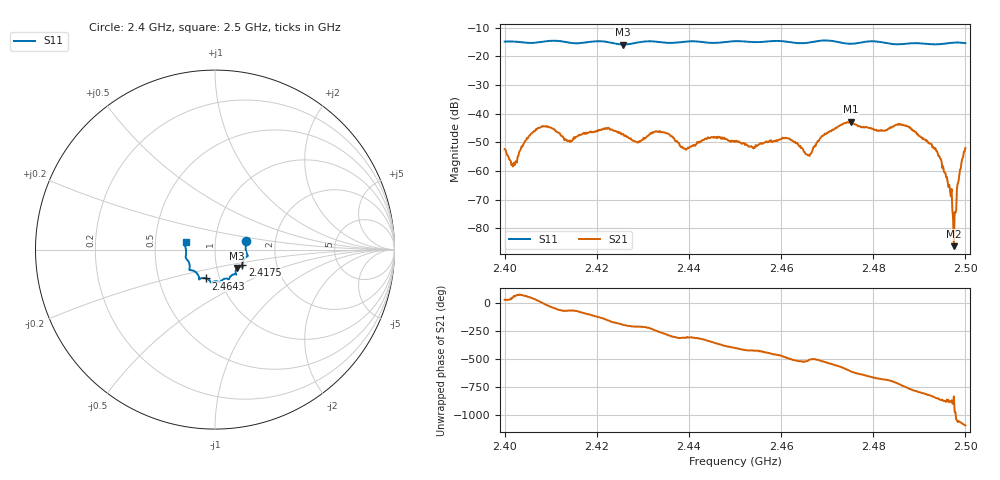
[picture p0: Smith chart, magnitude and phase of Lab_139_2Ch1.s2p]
# Hz S RI R 50
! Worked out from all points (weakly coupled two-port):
!   601 points, 2.4 GHz to 2.5 GHz, reference 50 ohm
!   highest |S21| = -42.84 dB at 2.4752 GHz (marker M1); lowest = -86.3 dB at 2.4975 GHz (marker M2)
!   lowest |S11| = -15.9 dB at 2.4257 GHz (marker M3), VSWR 1.38, Z = 62.5 - j13.1 ohm
!   |S11| at or under -10 dB: start of sweep to end of sweep
!   S12 and S22 are empty: the file has one direction only
!   S11 on the Smith chart (normalised r, x): 2.4 GHz: 1.41, +0.14; 2.4175 GHz: 1.34, -0.23; 2.4643 GHz: 0.86, -0.29; 2.5 GHz: 0.72, +0.06
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2.4e9  0.1733 0.0486  0.00203 0.00128  0 0  0 0
2.402167e9  0.1757 0.0396  0.000599 0.00111  0 0  0 0
2.404833e9  0.1709 0.0156  0.00178 0.00329  0 0  0 0
2.408167e9  0.178 -0.0226  0.00601 0.00044  0 0  0 0
2.414e9  0.1662 -0.0467  0.00143 -0.00306  0 0  0 0
2.416667e9  0.1531 -0.0742  0.000607 -0.00425  0 0  0 0
2.4175e9  0.152 -0.0837  -6.58e-05 -0.00459  0 0  0 0
2.425667e9  0.1227 -0.1024  -0.00432 0.000934  0 0  0 0
2.428833e9  0.1148 -0.13  -0.00276 0.00145  0 0  0 0
2.433333e9  0.1129 -0.1372  -0.00149 0.00455  0 0  0 0
2.439167e9  0.0801 -0.1602  0.00142 0.00199  0 0  0 0
2.45e9  0.0288 -0.1808  0.00255 -0.00214  0 0  0 0
2.461167e9  -0.0266 -0.1777  -0.00216 -0.00307  0 0  0 0
2.464333e9  -0.0499 -0.1608  -0.00232 -0.000922  0 0  0 0
2.466667e9  -0.0759 -0.1595  -0.00165 -0.00132  0 0  0 0
2.475167e9  -0.1081 -0.1247  -0.00247 0.00677  0 0  0 0
2.483333e9  -0.1406 -0.0902  0.00462 0.00291  0 0  0 0
2.4875e9  -0.1581 -0.0529  0.00474 -0.00363  0 0  0 0
2.4935e9  -0.161 -0.00778  -0.0014 -0.00206  0 0  0 0
2.4965e9  -0.1682 0.0238  -0.000552 -0.000145  0 0  0 0
2.4975e9  -0.1703 0.0297  -1.95e-05 -4.45e-05  0 0  0 0
2.5e9  -0.1637 0.0427  0.00244 -0.000556  0 0  0 0
